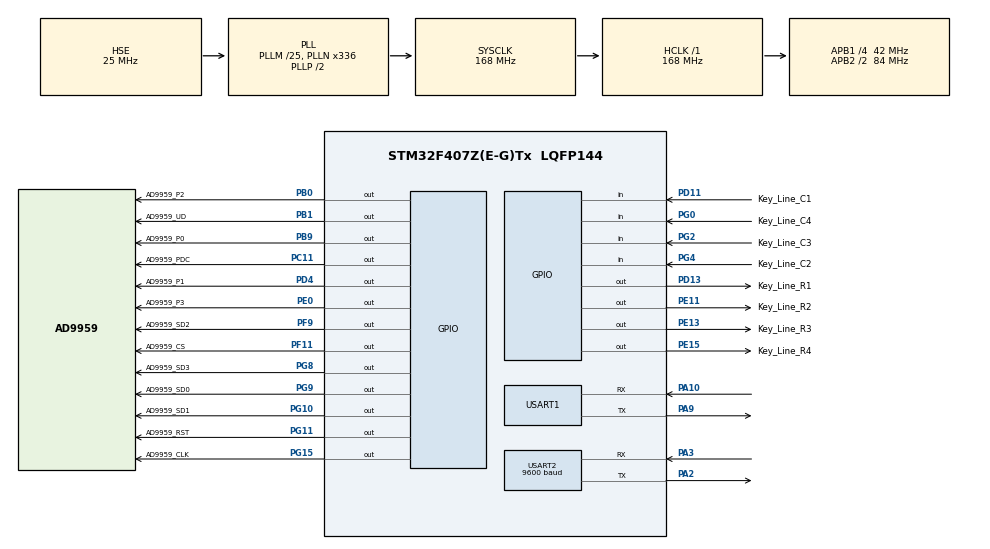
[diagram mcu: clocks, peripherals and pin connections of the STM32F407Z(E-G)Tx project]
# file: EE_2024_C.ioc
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Mcu.Family=STM32F4
Mcu.Name=STM32F407Z(E-G)Tx
Mcu.Package=LQFP144
NVIC.PriorityGroup=NVIC_PRIORITYGROUP_4
NVIC.USART1_IRQn=true\:0\:0\:false\:false\:true\:true\:true\:true
NVIC.USART2_IRQn=true\:0\:0\:false\:false\:true\:true\:true\:true
PA10.Mode=Asynchronous
PA10.Signal=USART1_RX
PA13.Mode=Serial_Wire
PA13.Signal=SYS_JTMS-SWDIO
PA14.Mode=Serial_Wire
PA14.Signal=SYS_JTCK-SWCLK
PA2.Mode=Asynchronous
PA2.Signal=USART2_TX
PA3.Mode=Asynchronous
PA3.Signal=USART2_RX
PA9.Mode=Asynchronous
PA9.Signal=USART1_TX
PB0.GPIO_Label=AD9959_P2
PB0.Signal=GPIO_Output
PB1.GPIO_Label=AD9959_UD
PB1.Signal=GPIO_Output
PB9.GPIO_Label=AD9959_P0
PB9.Signal=GPIO_Output
PC11.GPIO_Label=AD9959_PDC
PC11.Signal=GPIO_Output
PD11.GPIO_Label=Key_Line_C1
PD11.GPIO_PuPd=GPIO_PULLUP
PD11.Signal=GPIO_Input
PD13.GPIO_Label=Key_Line_R1
PD13.GPIO_Speed=GPIO_SPEED_FREQ_VERY_HIGH
PD13.Signal=GPIO_Output
PD4.GPIO_Label=AD9959_P1
PD4.Signal=GPIO_Output
PE0.GPIO_Label=AD9959_P3
PE0.Signal=GPIO_Output
PE11.GPIO_Label=Key_Line_R2
PE11.GPIO_Speed=GPIO_SPEED_FREQ_VERY_HIGH
PE11.Signal=GPIO_Output
PE13.GPIO_Label=Key_Line_R3
PE13.GPIO_Speed=GPIO_SPEED_FREQ_VERY_HIGH
PE13.Signal=GPIO_Output
PE15.GPIO_Label=Key_Line_R4
PE15.GPIO_Speed=GPIO_SPEED_FREQ_VERY_HIGH
PE15.Signal=GPIO_Output
PF11.GPIO_Label=AD9959_CS
PF11.Signal=GPIO_Output
PF9.GPIO_Label=AD9959_SD2
PF9.Signal=GPIO_Output
PG0.GPIO_Label=Key_Line_C4
PG0.GPIO_PuPd=GPIO_PULLUP
PG0.Signal=GPIO_Input
PG10.GPIO_Label=AD9959_SD1
PG10.Signal=GPIO_Output
PG11.GPIO_Label=AD9959_RST
PG11.Signal=GPIO_Output
PG15.GPIO_Label=AD9959_CLK
PG15.Signal=GPIO_Output
PG2.GPIO_Label=Key_Line_C3
PG2.GPIO_PuPd=GPIO_PULLUP
PG2.Signal=GPIO_Input
PG4.GPIO_Label=Key_Line_C2
PG4.GPIO_PuPd=GPIO_PULLUP
PG4.Signal=GPIO_Input
PG8.GPIO_Label=AD9959_SD3
PG8.Signal=GPIO_Output
PG9.GPIO_Label=AD9959_SD0
PG9.Signal=GPIO_Output
PH0-OSC_IN.Mode=HSE-External-Oscillator
PH0-OSC_IN.Signal=RCC_OSC_IN
PH1-OSC_OUT.Mode=HSE-External-Oscillator
PH1-OSC_OUT.Signal=RCC_OSC_OUT
ProjectManager.HeapSize=0x200
ProjectManager.StackSize=0x400
ProjectManager.TargetToolchain=Makefile
RCC.48MHZClocksFreq_Value=84000000
RCC.AHBFreq_Value=168000000
RCC.APB1CLKDivider=RCC_HCLK_DIV4
RCC.APB1Freq_Value=42000000
RCC.APB1TimFreq_Value=84000000
RCC.APB2CLKDivider=RCC_HCLK_DIV2
RCC.APB2Freq_Value=84000000
RCC.APB2TimFreq_Value=168000000
RCC.CortexFreq_Value=168000000
RCC.HCLKFreq_Value=168000000
RCC.HSE_VALUE=25000000
RCC.HSI_VALUE=16000000
RCC.LSE_VALUE=32768
RCC.PLLM=25
RCC.PLLN=336
RCC.PLLSourceVirtual=RCC_PLLSOURCE_HSE
RCC.SYSCLKFreq_VALUE=168000000
RCC.SYSCLKSource=RCC_SYSCLKSOURCE_PLLCLK
RCC.VCOOutputFreq_Value=336000000
USART1.VirtualMode=VM_ASYNC
USART2.BaudRate=9600
USART2.VirtualMode=VM_ASYNC
board=custom

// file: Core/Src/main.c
/* USER CODE BEGIN Header */
/**
  ******************************************************************************
  * @file           : main.c
  * @brief          : Main program body
  ******************************************************************************
  * @attention
  *
  * Copyright (c) 2024 STMicroelectronics.
  * All rights reserved.
  *
  * This software is licensed under terms that can be found in the LICENSE file
  * in the root directory of this software component.
  * If no LICENSE file comes with this software, it is provided AS-IS.
  *
  ******************************************************************************
  */
/* USER CODE END Header */
#include "main.h"
#include "stm32f4xx_hal.h"
#include "usart.h"
#include "gpio.h"

/* USER CODE BEGIN Includes */
#include <math.h>
#include <stdio.h>
#include <string.h>
#include "bsp_ad9959.h"
#include "bsp_matrix.h"
#include "myparamset.h"
/* USER CODE END Includes */

/* USER CODE BEGIN PV */
// Amplifier coefs for 30-40MHz (11 steps).
const double CARRIER_AMP_AMPLIFIERS_CH1[11] = {
  8.54, 8.66, 8.54, 8.54, 8.66, 8.6,
  8.54, 8.54, 8.6, 8.6, 8.54
};
const double CARRIER_AMP_AMPLIFIERS_CH2[11] = {
  11.2, 10.67, 9.9, 9.31, 8.96, 8.31,
  8.01, 7.6, 7.25, 6.89, 6.6
};

char UART_Buffer[UART_Buffer_Len];
GPIO_PinState Matrix_Lines_Status[MATRIX_N_ROWS + MATRIX_N_COLS];
uint16_t ad9959_amps[4];

// Important parameters
SD_Type Param_sd_type;
uint16_t Param_carrier_amp;  // 100-1000 mV
uint16_t Param_carrier_freq;  // 30-40 MHz
uint16_t Param_mod_depth;  // 30-90 %
uint16_t Param_sm_amp_decay;  // 0-20 dB
uint16_t Param_sm_delay;  // 50-200 ns
uint16_t Param_sm_phase;  // 0-180 degree

uint8_t Debug_carrier_amp_max = 0;  // If the carrier amp should be set to max

DEBUG_Amp_Step_Ch Debug_amp_step_ch = DEBUG_AMP_STEP_CH1;
int8_t Debug_carrier_amp_amplifier_n_steps_ch1[11] = {0};
int8_t Debug_carrier_amp_amplifier_n_steps_ch2[11] = {0};
/* USER CODE END PV */

void SystemClock_Config(void);
/* USER CODE BEGIN PFP */
#ifdef __GNUC__
#define PUTCHAR_PROTOTYPE int __io_putchar(int ch)
#else
#define PUTCHAR_PROTOTYPE int fputc(int ch, FILE *f)
#endif

PUTCHAR_PROTOTYPE
{
  HAL_UART_Transmit(&huart1, (uint8_t *)&ch, 1, 10);
  return ch;
}

// Peripheral test function
void Taojingchi_Test();
void AD9959_Test();
Matrix_Key MatrixKeyboard_Test();
/* USER CODE END PFP */

int main(void)
{

  /* MCU Configuration--------------------------------------------------------*/

  /* Reset of all peripherals, Initializes the Flash interface and the Systick. */
  HAL_Init();

  /* Configure the system clock */
  SystemClock_Config();

  /* Initialize all configured peripherals */
  MX_GPIO_Init();
  MX_USART2_UART_Init();
  MX_USART1_UART_Init();
  /* USER CODE BEGIN 2 */
  printf("Welcome to EE 2024 C!\n");

  AD9959_GPIO_Init();
  ParamSet_Init();

  Taojingchi_Test();
  // AD9959_Test();
  /* USER CODE END 2 */

  /* Infinite loop */
  while (1)
  {

    /* USER CODE BEGIN 3 */
    Matrix_Key key = MatrixKeyboard_Test();
    ParamSet_Process(key);
    // Add delay to reduce output signal glitch
    HAL_Delay(25);
  }
  /* USER CODE END 3 */
}

void SystemClock_Config(void)
{
  RCC_OscInitTypeDef RCC_OscInitStruct = {0};
  RCC_ClkInitTypeDef RCC_ClkInitStruct = {0};

  /** Configure the main internal regulator output voltage
  */
  __HAL_RCC_PWR_CLK_ENABLE();
  __HAL_PWR_VOLTAGESCALING_CONFIG(PWR_REGULATOR_VOLTAGE_SCALE1);

  /** Initializes the RCC Oscillators according to the specified parameters
  * in the RCC_OscInitTypeDef structure.
  */
  RCC_OscInitStruct.OscillatorType = RCC_OSCILLATORTYPE_HSE;
  RCC_OscInitStruct.HSEState = RCC_HSE_ON;
  RCC_OscInitStruct.PLL.PLLState = RCC_PLL_ON;
  RCC_OscInitStruct.PLL.PLLSource = RCC_PLLSOURCE_HSE;
  RCC_OscInitStruct.PLL.PLLM = 25;
  RCC_OscInitStruct.PLL.PLLN = 336;
  RCC_OscInitStruct.PLL.PLLP = RCC_PLLP_DIV2;
  RCC_OscInitStruct.PLL.PLLQ = 4;
  if (HAL_RCC_OscConfig(&RCC_OscInitStruct) != HAL_OK)
  {
    Error_Handler();
  }

  /** Initializes the CPU, AHB and APB buses clocks
  */
  RCC_ClkInitStruct.ClockType = RCC_CLOCKTYPE_HCLK|RCC_CLOCKTYPE_SYSCLK
                              |RCC_CLOCKTYPE_PCLK1|RCC_CLOCKTYPE_PCLK2;
  RCC_ClkInitStruct.SYSCLKSource = RCC_SYSCLKSOURCE_PLLCLK;
  RCC_ClkInitStruct.AHBCLKDivider = RCC_SYSCLK_DIV1;
  RCC_ClkInitStruct.APB1CLKDivider = RCC_HCLK_DIV4;
  RCC_ClkInitStruct.APB2CLKDivider = RCC_HCLK_DIV2;

  if (HAL_RCC_ClockConfig(&RCC_ClkInitStruct, FLASH_LATENCY_5) != HAL_OK)
  {
    Error_Handler();
  }
}

/* USER CODE BEGIN 4 */
void Taojingchi_Test() {
  sprintf(UART_Buffer, "main.sd_type.txt=\"AM\"\xff\xff\xff");
  printf("%s", UART_Buffer);
  printf("Welcome to EE 2024 C 2!\n");
  HAL_StatusTypeDef status = HAL_UART_Transmit(
      &huart2, (const uint8_t *)UART_Buffer, strlen(UART_Buffer), 1000);
  printf("%d\n", status);
}

void AD9959_Test() {
  AD9959_Set_Signal(0, 2000000, 0, 512);
  AD9959_Set_Signal(1, 40000000, 0, 1023);
  AD9959_Set_Signal(2, 40000000, 0, 1023);
  AD9959_Set_Signal(3, 2000000, 0, 512);
}

Matrix_Key MatrixKeyboard_Test() {
  Matrix_Key key = Matrix_Key_Scan();

  // printf("%d   ", key);

  if (key != MATRIX_KEY_EMPTY) {
    // Supress long press
    while (Matrix_Key_Scan() != MATRIX_KEY_EMPTY);
    // Print key
    switch (key) {
      case MATRIX_KEY_1:
        printf("1\n");
        break;
      case MATRIX_KEY_2:
        printf("2\n");
        break;
      case MATRIX_KEY_3:
        printf("3\n");
        break;
      case MATRIX_KEY_4:
        printf("4\n");
        break;
      case MATRIX_KEY_5:
        printf("5\n");
        break;
      case MATRIX_KEY_6:
        printf("6\n");
        break;
      case MATRIX_KEY_7:
        printf("7\n");
        break;
      case MATRIX_KEY_8:
        printf("8\n");
        break;
      case MATRIX_KEY_9:
        printf("9\n");
        break;
      case MATRIX_KEY_10:
        printf("10\n");
        break;
      case MATRIX_KEY_11:
        printf("11\n");
        break;
      case MATRIX_KEY_12:
        printf("12\n");
        break;
      case MATRIX_KEY_13:
        printf("13\n");
        break;
      case MATRIX_KEY_14:
        printf("14\n");
        break;
      case MATRIX_KEY_15:
        printf("15\n");
        break;
      case MATRIX_KEY_16:
        printf("16\n");
        break;
      case MATRIX_KEY_EMPTY:
        // No key
        break;
    }
  }

  return key;
}

void AD9959_UpdateParams() {
  uint16_t mod_signal_amp_n_1, mod_signal_amp_n_2;
  double sm_carrier_delay_to_degree, mod_signal_delay_to_degree;
  uint16_t carrier_amp_n_1, carrier_amp_n_2;

  if (Param_sd_type == SD_CW) {
    // CW wave, mod signal amplitude is the least
    mod_signal_amp_n_1 = AD9959_Min_Quantification;
    mod_signal_amp_n_2 = AD9959_Min_Quantification;
  } else {
    // DC offset
    double mod_signal_amp_1 = (double)Param_mod_depth / 100 * 188;
    double mod_signal_amp_2 = (double)Param_mod_depth / 100 * 180;
    // Max voltage is 250mV, not AD9959_Max_Voltage
    mod_signal_amp_n_1 = (uint16_t)(mod_signal_amp_1 / 250 * AD9959_Max_Quantification);
    mod_signal_amp_n_2 = (uint16_t)(mod_signal_amp_2 / 250 * AD9959_Max_Quantification);
  }

  // Amp decay
  double amp_decay_coef = pow(10, -(double)Param_sm_amp_decay / 20);

  if (Debug_carrier_amp_max) {
    carrier_amp_n_1 = AD9959_Max_Quantification;
    carrier_amp_n_2 = AD9959_Max_Quantification;
  } else {
    // Param_carrier_amp is RMS!!
    // Channel 1 (Sd) has an 8.7x amplifier, while Channel 2 (Sm) has an 8.2x amplifier.
    carrier_amp_n_1 = (uint16_t)(Param_carrier_amp * 1.414 / (CARRIER_AMP_AMPLIFIERS_CH1[Param_carrier_freq - 30] + Debug_carrier_amp_amplifier_n_steps_ch1[Param_carrier_freq - 30] * DEBUG_CARRIER_AMP_AMPLIFIER_STEP_CH1) / AD9959_Max_Voltage * AD9959_Max_Quantification);
    carrier_amp_n_2 = (uint16_t)(Param_carrier_amp * 1.414 / (CARRIER_AMP_AMPLIFIERS_CH2[Param_carrier_freq - 30] + Debug_carrier_amp_amplifier_n_steps_ch2[Param_carrier_freq - 30] * DEBUG_CARRIER_AMP_AMPLIFIER_STEP_CH2) / AD9959_Max_Voltage * AD9959_Max_Quantification * amp_decay_coef);
  }

  uint16_t sm_phase_n = Param_sm_phase;

  // Phase & Delay
  double carrier_period_ns = 1000.0 / Param_carrier_freq;
  double mod_signal_period_ns = 500;
  if (Param_sd_type == SD_CW) {
    sm_carrier_delay_to_degree = Param_sm_delay / carrier_period_ns * 360;
    mod_signal_delay_to_degree = Param_sm_delay / mod_signal_period_ns * 360;
  } else {
    sm_carrier_delay_to_degree = (Param_sm_delay - 30) / carrier_period_ns * 360;
    mod_signal_delay_to_degree = (Param_sm_delay - 30) / mod_signal_period_ns * 360;
  }
  uint16_t sm_phase_carrier_final = (uint16_t)(230 + sm_phase_n + sm_carrier_delay_to_degree) % 360;
  uint16_t sm_phase_mod_signal_final = (uint16_t)(230 + sm_phase_n + mod_signal_delay_to_degree) % 360;

  AD9959_Set_Signal(0, 2000000, sm_phase_mod_signal_final, mod_signal_amp_n_1);
  AD9959_Set_Signal(1, Param_carrier_freq * 1000000, sm_phase_carrier_final, carrier_amp_n_1);
  AD9959_Set_Signal(2, Param_carrier_freq * 1000000, 0, carrier_amp_n_2);
  AD9959_Set_Signal(3, 2000000, 0, (uint16_t)(mod_signal_amp_n_2 * amp_decay_coef));
}
/* USER CODE END 4 */

void Error_Handler(void)
{
  __disable_irq();
  while (1)
  {
  }
}
